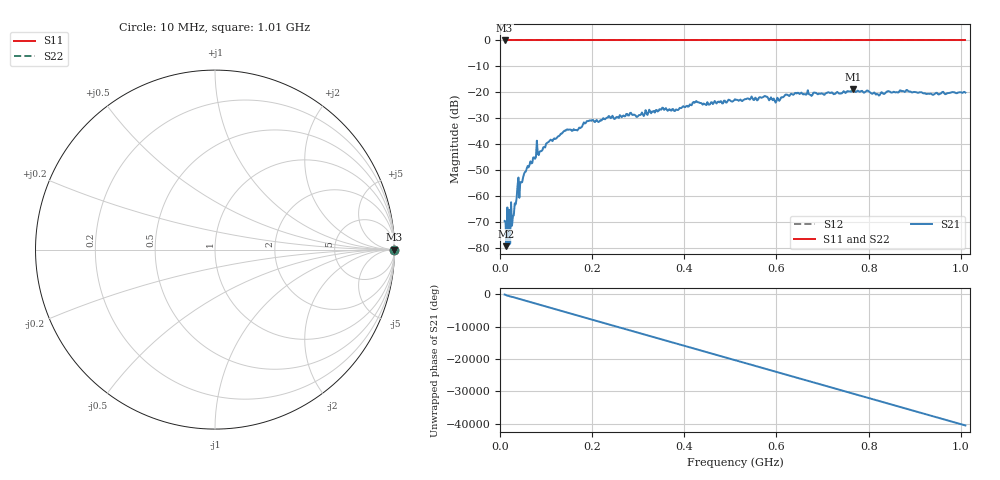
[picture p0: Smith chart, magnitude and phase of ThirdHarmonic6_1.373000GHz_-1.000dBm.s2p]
! 8/16/2025 3:34:04 PM
! C:\ANRITSUVNA\TEMP\TEMP.S2P
! CHANNEL.1
! TR.MEASUREMENT
! RAW.DATA
! RF.CORRECTION.OFF
! AVERAGING.OFF
! IF.BANDWIDTH: 5KHZ
! SWEEPTYPE:  FREQ.SWEEP(Linear)
! Reference Plane Port Info
! PORT:  PORT1  PORT2
! DISTANCE:  0  m  0  m
! TIME:  0  s  0  s
! PHASE.OFFSET:  0  deg.  0  deg.
! LOSS:  0  dB  0  dB
! REF.LOSS:  0  dB  0  dB
! REF.FREQ:  0  Hz  0  Hz
! Power Info
! POWER:  -20  dBm  -20  dBm
! EFF.POWER:  -20  dBm  -20  dBm
! SOURCE.ATTEN:  0  dB  0  dB
! TEST.ATTEN:  0  dB  0  dB
# GHZ S RI R 50.0
! FREQ.GHZ  S11RE  S11IM  S21RE  S21IM  S12RE  S12IM  S22RE  S22IM
!; PortSelection: Port_12
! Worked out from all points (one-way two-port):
!   501 points, 10 MHz to 1.01 GHz, reference 50 ohm
!   highest |S21| = -18.85 dB at 766 MHz (marker M1); lowest = -79.4 dB at 14 MHz (marker M2)
!   lowest |S11| = 0.0 dB at 10 MHz (marker M3)
!   |S11| at or under -10 dB: nowhere
!   |S22| runs from 0.0 to 0.0 dB; largest |S21 - S12| = 1.1
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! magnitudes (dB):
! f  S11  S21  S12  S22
! 10 MHz  0.0  -69.6  0.0  0.0
! 12 MHz  0.0  -69.8  0.0  0.0
! 14 MHz  0.0  -79.4  0.0  0.0
! 18 MHz  0.0  -79.2  0.0  0.0
! 20 MHz  0.0  -65.4  0.0  0.0
! 22 MHz  0.0  -78.4  0.0  0.0
! 26 MHz  0.0  -71.5  0.0  0.0
! 36 MHz  0.0  -61.0  0.0  0.0
! 42 MHz  0.0  -60.7  0.0  0.0
! 76 MHz  0.0  -45.6  0.0  0.0
! 142 MHz  0.0  -34.9  0.0  0.0
! 178 MHz  0.0  -33.3  0.0  0.0
! 192 MHz  0.0  -31.1  0.0  0.0
! 344 MHz  0.0  -27.2  0.0  0.0
! 510 MHz  0.0  -22.7  0.0  0.0
! 576 MHz  0.0  -21.5  0.0  0.0
! 596 MHz  0.0  -23.1  0.0  0.0
! 644 MHz  0.0  -20.5  0.0  0.0
! 678 MHz  0.0  -21.1  0.0  0.0
! 766 MHz  0.0  -18.8  0.0  0.0
! 844 MHz  0.0  -19.6  0.0  0.0
! 1.01 GHz  0.0  -20.1  0.0  0.0
